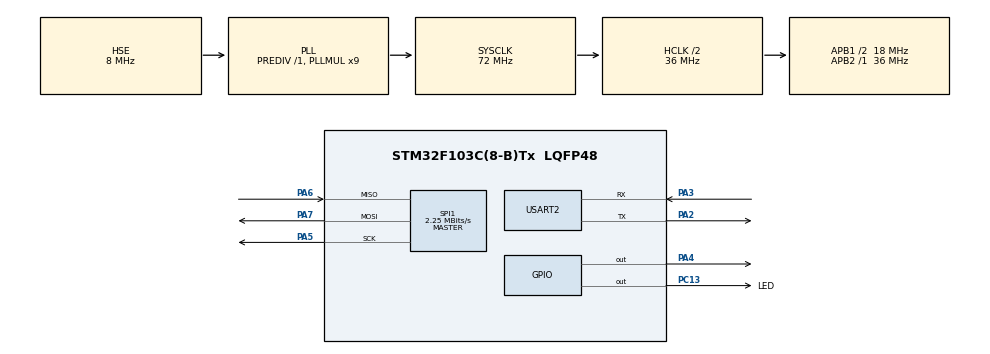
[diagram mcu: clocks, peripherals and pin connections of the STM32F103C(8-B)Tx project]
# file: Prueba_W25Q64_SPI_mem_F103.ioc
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Mcu.Family=STM32F1
Mcu.Name=STM32F103C(8-B)Tx
Mcu.Package=LQFP48
NVIC.PriorityGroup=NVIC_PRIORITYGROUP_4
PA13.Mode=Serial_Wire
PA13.Signal=SYS_JTMS-SWDIO
PA14.Mode=Serial_Wire
PA14.Signal=SYS_JTCK-SWCLK
PA2.Mode=Asynchronous
PA2.Signal=USART2_TX
PA3.Mode=Asynchronous
PA3.Signal=USART2_RX
PA4.GPIO_ModeDefaultOutputPP=GPIO_MODE_OUTPUT_PP
PA4.GPIO_PuPd=GPIO_NOPULL
PA4.GPIO_Speed=GPIO_SPEED_FREQ_HIGH
PA4.PinState=GPIO_PIN_SET
PA4.Signal=GPIO_Output
PA5.GPIO_Mode=GPIO_MODE_AF_PP
PA5.Mode=Full_Duplex_Master
PA5.Signal=SPI1_SCK
PA6.GPIO_PuPd=GPIO_PULLUP
PA6.Mode=Full_Duplex_Master
PA6.Signal=SPI1_MISO
PA7.GPIO_Mode=GPIO_MODE_AF_PP
PA7.Mode=Full_Duplex_Master
PA7.Signal=SPI1_MOSI
PC13-TAMPER-RTC.GPIO_Label=LED
PC13-TAMPER-RTC.PinState=GPIO_PIN_SET
PC13-TAMPER-RTC.Signal=GPIO_Output
PD0-OSC_IN.Mode=HSE-External-Oscillator
PD0-OSC_IN.Signal=RCC_OSC_IN
PD1-OSC_OUT.Mode=HSE-External-Oscillator
PD1-OSC_OUT.Signal=RCC_OSC_OUT
ProjectManager.HeapSize=0x200
ProjectManager.StackSize=0x400
ProjectManager.TargetToolchain=STM32CubeIDE
RCC.AHBCLKDivider=RCC_SYSCLK_DIV2
RCC.AHBFreq_Value=36000000
RCC.APB1CLKDivider=RCC_HCLK_DIV2
RCC.APB1Freq_Value=18000000
RCC.APB1TimFreq_Value=36000000
RCC.APB2Freq_Value=36000000
RCC.APB2TimFreq_Value=36000000
RCC.HCLKFreq_Value=36000000
RCC.PLLMUL=RCC_PLL_MUL9
RCC.PLLSourceVirtual=RCC_PLLSOURCE_HSE
RCC.SYSCLKFreq_VALUE=72000000
RCC.SYSCLKSource=RCC_SYSCLKSOURCE_PLLCLK
RCC.USBFreq_Value=72000000
SPI1.BaudRatePrescaler=SPI_BAUDRATEPRESCALER_16
SPI1.CLKPhase=SPI_PHASE_2EDGE
SPI1.CLKPolarity=SPI_POLARITY_HIGH
SPI1.CalculateBaudRate=2.25 MBits/s
SPI1.Direction=SPI_DIRECTION_2LINES
SPI1.FirstBit=SPI_FIRSTBIT_MSB
SPI1.Mode=SPI_MODE_MASTER
SPI1.VirtualType=VM_MASTER
USART2.VirtualMode=VM_ASYNC
board=custom

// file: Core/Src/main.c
/* USER CODE BEGIN Header */
/**
  ******************************************************************************
  * @file           : main.c
  * @brief          : Main program body
  ******************************************************************************
  * @attention
  *
  * Copyright (c) 2024 STMicroelectronics.
  * All rights reserved.
  *
  * This software is licensed under terms that can be found in the LICENSE file
  * in the root directory of this software component.
  * If no LICENSE file comes with this software, it is provided AS-IS.
  *
  ******************************************************************************
  */
/* USER CODE END Header */
#include "main.h"

/* USER CODE BEGIN Includes */
#include <stdio.h>
#include <string.h>
#include "w25q64.h"
/* USER CODE END Includes */

SPI_HandleTypeDef hspi1;

UART_HandleTypeDef huart2;

void SystemClock_Config(void);
static void MX_GPIO_Init(void);
static void MX_SPI1_Init(void);
static void MX_USART2_UART_Init(void);

/* USER CODE BEGIN 0 */
int _write(int fd, char* ptr, int len)
{
	HAL_UART_Transmit(&huart2, (uint8_t *) ptr, len, HAL_MAX_DELAY);
	return len;
}

void EscribeDatos(uint8_t *buffer)
{
	uint8_t i, j;

	printf("\n");
	for(j = 0; j < 16; j++)
	{
		printf("[%.2X] \t", j*16);
		for(i = 0; i < 16; i++)
			printf("%.2X ", buffer[(j*16)+i]);
		printf("\n");
	}
	printf("\n");
}
/* USER CODE END 0 */

int main(void)
{
  /* USER CODE BEGIN 1 */
	uint8_t datos[256];
	W25Q64_IDstr memid;
	uint8_t uniqid[8];
  /* USER CODE END 1 */

  /* MCU Configuration--------------------------------------------------------*/

  /* Reset of all peripherals, Initializes the Flash interface and the Systick. */
  HAL_Init();

  /* Configure the system clock */
  SystemClock_Config();

  /* Initialize all configured peripherals */
  MX_GPIO_Init();
  MX_SPI1_Init();
  MX_USART2_UART_Init();
  /* USER CODE BEGIN 2 */
  HAL_GPIO_WritePin(LED_GPIO_Port, LED_Pin, GPIO_PIN_RESET);
  printf("\n*** Programa de muestra en memoria SPI ***\n\n");

  //W25Q64_Cmd_Reset();

	W25Q64_WakeUp();
	while(W25Q64_Busy());

	W25Q64_ReadMFID(&memid);

	printf("La memoria tiene ID: %.2X - %.2X.\n", memid.ManufacturerID, memid.DevId);

	W25Q64_ReadUniqID(uniqid);

	printf("La memoria tiene UID: %.2X%.2X%.2X%.2X%.2X%.2X%.2X%.2X\n\n", uniqid[7], uniqid[6], uniqid[5], uniqid[4], uniqid[3], uniqid[2], uniqid[1], uniqid[0]);

	HAL_Delay(1000);

    printf("Se van a leer 256 bits de la memoria.\n");

    memset(datos, 0, 256);
    W25Q64_FastReadData(0, datos, 256);
    EscribeDatos(datos);

    HAL_Delay(1000);

    printf("Se va a limpiar un sector de la memoria.\n");

    while(W25Q64_Busy());
    W25Q64_WriteEnable();
    while(W25Q64_Busy());
    W25Q64_SectorErase(0L);
    HAL_Delay(5);
    while(W25Q64_Busy());

    memset(datos, 0, 256);
    W25Q64_FastReadData(0, datos, 256);
    EscribeDatos(datos);

    HAL_Delay(1000);

    printf("Se van a guardar 8 bits en la memoria.\n");

    memset(datos, 0, 256);
    datos[0] = 0x55U;
    datos[1] = 1;
    datos[2] = 2;
    datos[3] = 3;
    datos[4] = 4;
    datos[5] = 5;
    datos[6] = 6;
    datos[7] = 7;

    W25Q64_WriteEnable();
    while(W25Q64_Busy());
    W25Q64_PageProgram(0L, datos, 0);
    while(W25Q64_Busy());
    W25Q64_WriteDisable();
  /* USER CODE END 2 */

  /* Infinite loop */
  while (1)
  {

    /* USER CODE BEGIN 3 */
	  printf("Se van a leer 256 bits de la memoria.\n");

	  memset(datos, 0xFFU, 256);
	  W25Q64_FastReadData(0, datos, 256);
	  EscribeDatos(datos);

	  HAL_GPIO_TogglePin(LED_GPIO_Port, LED_Pin);
	  HAL_Delay(1000);
  }
  /* USER CODE END 3 */
}

void SystemClock_Config(void)
{
  RCC_OscInitTypeDef RCC_OscInitStruct = {0};
  RCC_ClkInitTypeDef RCC_ClkInitStruct = {0};

  /** Initializes the RCC Oscillators according to the specified parameters
  * in the RCC_OscInitTypeDef structure.
  */
  RCC_OscInitStruct.OscillatorType = RCC_OSCILLATORTYPE_HSE;
  RCC_OscInitStruct.HSEState = RCC_HSE_ON;
  RCC_OscInitStruct.HSEPredivValue = RCC_HSE_PREDIV_DIV1;
  RCC_OscInitStruct.HSIState = RCC_HSI_ON;
  RCC_OscInitStruct.PLL.PLLState = RCC_PLL_ON;
  RCC_OscInitStruct.PLL.PLLSource = RCC_PLLSOURCE_HSE;
  RCC_OscInitStruct.PLL.PLLMUL = RCC_PLL_MUL9;
  if (HAL_RCC_OscConfig(&RCC_OscInitStruct) != HAL_OK)
  {
    Error_Handler();
  }

  /** Initializes the CPU, AHB and APB buses clocks
  */
  RCC_ClkInitStruct.ClockType = RCC_CLOCKTYPE_HCLK|RCC_CLOCKTYPE_SYSCLK
                              |RCC_CLOCKTYPE_PCLK1|RCC_CLOCKTYPE_PCLK2;
  RCC_ClkInitStruct.SYSCLKSource = RCC_SYSCLKSOURCE_PLLCLK;
  RCC_ClkInitStruct.AHBCLKDivider = RCC_SYSCLK_DIV2;
  RCC_ClkInitStruct.APB1CLKDivider = RCC_HCLK_DIV2;
  RCC_ClkInitStruct.APB2CLKDivider = RCC_HCLK_DIV1;

  if (HAL_RCC_ClockConfig(&RCC_ClkInitStruct, FLASH_LATENCY_2) != HAL_OK)
  {
    Error_Handler();
  }
}

static void MX_SPI1_Init(void)
{

  /* SPI1 parameter configuration*/
  hspi1.Instance = SPI1;
  hspi1.Init.Mode = SPI_MODE_MASTER;
  hspi1.Init.Direction = SPI_DIRECTION_2LINES;
  hspi1.Init.DataSize = SPI_DATASIZE_8BIT;
  hspi1.Init.CLKPolarity = SPI_POLARITY_HIGH;
  hspi1.Init.CLKPhase = SPI_PHASE_2EDGE;
  hspi1.Init.NSS = SPI_NSS_SOFT;
  hspi1.Init.BaudRatePrescaler = SPI_BAUDRATEPRESCALER_16;
  hspi1.Init.FirstBit = SPI_FIRSTBIT_MSB;
  hspi1.Init.TIMode = SPI_TIMODE_DISABLE;
  hspi1.Init.CRCCalculation = SPI_CRCCALCULATION_DISABLE;
  hspi1.Init.CRCPolynomial = 10;
  if (HAL_SPI_Init(&hspi1) != HAL_OK)
  {
    Error_Handler();
  }

}

static void MX_USART2_UART_Init(void)
{

  huart2.Instance = USART2;
  huart2.Init.BaudRate = 115200;
  huart2.Init.WordLength = UART_WORDLENGTH_8B;
  huart2.Init.StopBits = UART_STOPBITS_1;
  huart2.Init.Parity = UART_PARITY_NONE;
  huart2.Init.Mode = UART_MODE_TX_RX;
  huart2.Init.HwFlowCtl = UART_HWCONTROL_NONE;
  huart2.Init.OverSampling = UART_OVERSAMPLING_16;
  if (HAL_UART_Init(&huart2) != HAL_OK)
  {
    Error_Handler();
  }

}

static void MX_GPIO_Init(void)
{
  GPIO_InitTypeDef GPIO_InitStruct = {0};

  /* GPIO Ports Clock Enable */
  __HAL_RCC_GPIOC_CLK_ENABLE();
  __HAL_RCC_GPIOD_CLK_ENABLE();
  __HAL_RCC_GPIOA_CLK_ENABLE();

  /*Configure GPIO pin Output Level */
  HAL_GPIO_WritePin(LED_GPIO_Port, LED_Pin, GPIO_PIN_SET);

  /*Configure GPIO pin Output Level */
  HAL_GPIO_WritePin(GPIOA, GPIO_PIN_4, GPIO_PIN_SET);

  /*Configure GPIO pin : LED_Pin */
  GPIO_InitStruct.Pin = LED_Pin;
  GPIO_InitStruct.Mode = GPIO_MODE_OUTPUT_PP;
  GPIO_InitStruct.Pull = GPIO_NOPULL;
  GPIO_InitStruct.Speed = GPIO_SPEED_FREQ_LOW;
  HAL_GPIO_Init(LED_GPIO_Port, &GPIO_InitStruct);

  /*Configure GPIO pin : PA4 */
  GPIO_InitStruct.Pin = GPIO_PIN_4;
  GPIO_InitStruct.Mode = GPIO_MODE_OUTPUT_PP;
  GPIO_InitStruct.Pull = GPIO_NOPULL;
  GPIO_InitStruct.Speed = GPIO_SPEED_FREQ_HIGH;
  HAL_GPIO_Init(GPIOA, &GPIO_InitStruct);

}

void Error_Handler(void)
{
  __disable_irq();
  while (1)
  {
  }
}
